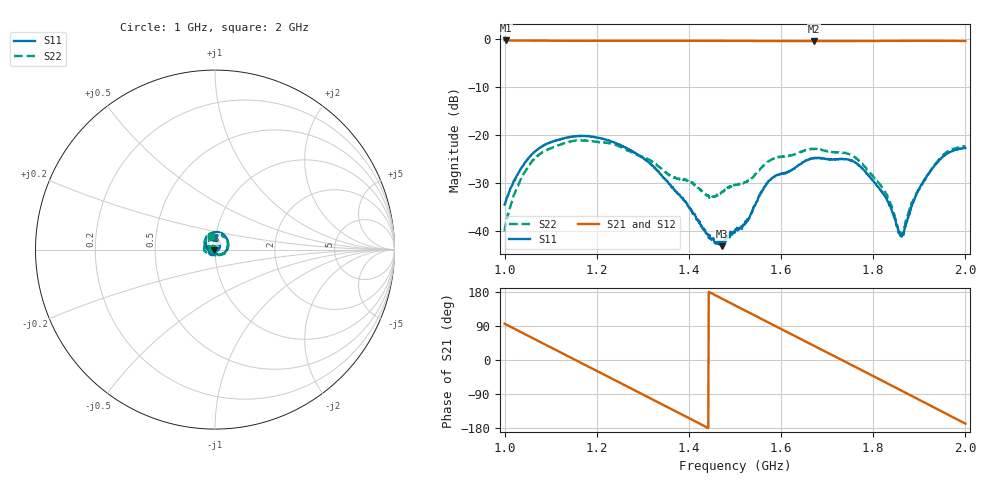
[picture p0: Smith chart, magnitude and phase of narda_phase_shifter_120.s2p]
#  HZ  S  DB  R  50.00
! Rohde & Schwarz Vector Network Analyzer
! Rohde-Schwarz,ZNB8-4Port,1311601044102961,2.82
! Created: UTC 3/4/2022, 4:06:55 PM
! freq[Hz]  db:S11  ang:S11  db:S21  ang:S21  db:S12  ang:S12  db:S22  ang:S22
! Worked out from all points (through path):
!   1001 points, 1 GHz to 2 GHz, reference 50 ohm
!   highest |S21| = -0.20 dB at 1.002 GHz (marker M1); lowest = -0.3 dB at 1.672 GHz (marker M2)
!   group delay of S21, straight-line fit = 1.73 ns
!   lowest |S11| = -43.1 dB at 1.472 GHz (marker M3), VSWR 1.01, Z = 49.5 - j0.44 ohm
!   |S11| at or under -10 dB: start of sweep to end of sweep
!   |S22| runs from -40.6 to -21.0 dB; largest |S21 - S12| = 0.0023
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1e9  -34.40 -152.7  -0.20 95.8  -0.18 95.8  -40.02 157.1
1.002e9  -33.86 -156.5  -0.20 94.6  -0.19 94.6  -38.68 157.8
1.025e9  -28.72 -179.1  -0.21 80.2  -0.20 80.2  -31.25 155.3
1.063e9  -23.61 150.3  -0.23 56.4  -0.22 56.4  -24.98 135.9
1.117e9  -20.87 113.3  -0.26 22.8  -0.25 22.8  -22.01 104.2
1.167e9  -20.09 77.6  -0.26 -8.2  -0.27 -8.2  -21.03 75.1
1.21e9  -20.63 50.8  -0.28 -34.9  -0.28 -34.9  -21.42 44.5
1.257e9  -22.27 16.4  -0.27 -64.2  -0.27 -64.2  -22.67 16.3
1.334e9  -27.51 -40.2  -0.26 -112.3  -0.26 -112.2  -26.44 -36.2
1.407e9  -35.77 -94.8  -0.29 -157.8  -0.27 -157.8  -29.87 -88.7
1.472e9  -43.08 -140.7  -0.29 161.6  -0.28 161.7  -31.79 -120.7
1.5e9  -40.19 -144.3  -0.29 144.2  -0.29 144.3  -30.23 -129.5
1.543e9  -34.71 -160.2  -0.31 117.4  -0.30 117.4  -28.11 -150.1
1.584e9  -28.70 -179.0  -0.32 91.8  -0.32 91.8  -24.82 -171.7
1.624e9  -27.10 157.4  -0.33 67.0  -0.32 67.0  -24.11 165.8
1.667e9  -24.78 130.3  -0.34 40.2  -0.33 40.2  -22.80 141.1
1.672e9  -24.68 126.3  -0.34 37.1  -0.33 37.2  -22.80 138.5
1.751e9  -25.26 72.2  -0.33 -11.9  -0.33 -11.9  -24.05 94.9
1.834e9  -34.10 -3.4  -0.29 -63.8  -0.28 -63.7  -33.50 58.9
1.862e9  -41.10 -95.0  -0.29 -81.3  -0.28 -81.3  -40.35 121.9
1.925e9  -27.27 161.7  -0.28 -120.9  -0.27 -120.8  -27.33 143.0
2e9  -22.62 100.2  -0.32 -167.9  -0.31 -167.9  -22.23 105.9
